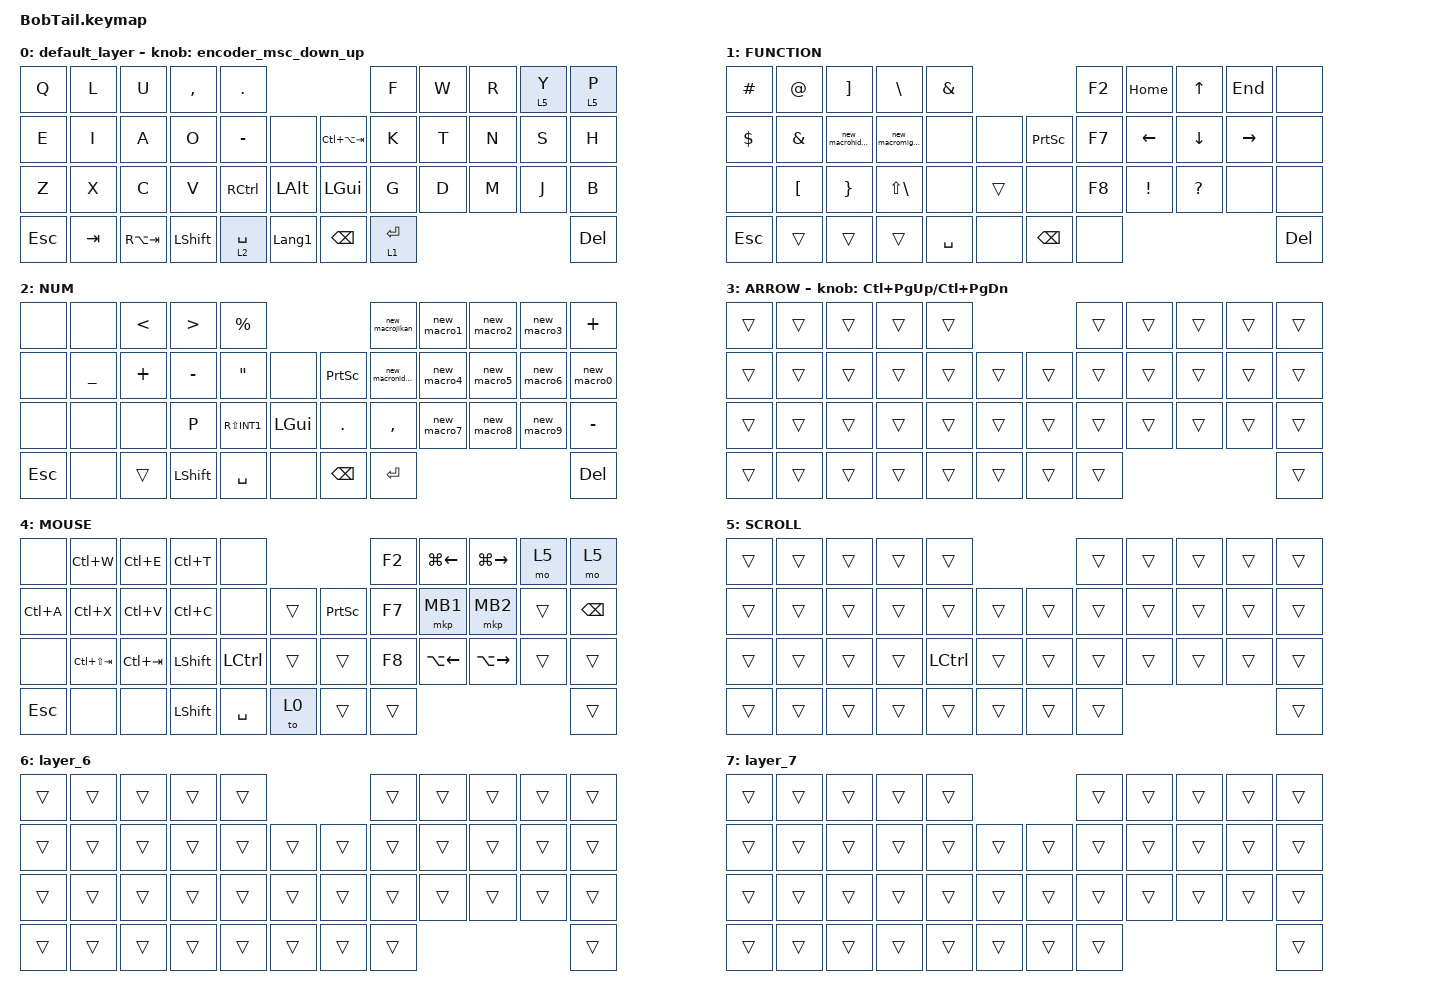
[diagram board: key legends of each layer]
#include <behaviors.dtsi>
#include <dt-bindings/zmk/keys.h>
#include <dt-bindings/zmk/pointing.h>

#define MOUSE 4
#define SCROLL 5
#define NUM 6
#define ZMK_POINTING_DEFAULT_SCRL_VAL 80

&mt {
    flavor = "balanced";
    quick-tap-ms = <0>;
};

/ {
    combos {
        compatible = "zmk,combos";

        shift_tab {
            bindings = <&kp LANG2>;
            key-positions = <12 13>;
            layers = <0 2 3 1>;
        };

        lang {
            bindings = <&kp LANG1>;
            key-positions = <18 19>;
            layers = <0 2 3 1>;
        };

        modoru {
            bindings = <&to 0>;
            key-positions = <18 19>;
            layers = <4>;
        };

        modoru2 {
            bindings = <&to 0>;
            key-positions = <12 13>;
            layers = <4>;
        };

        tab {
            bindings = <&kp TAB>;
            key-positions = <30 31>;
        };
    };

    behaviors {
        encoder_msc_down_up: encoder_msc_down_up {
            compatible = "zmk,behavior-sensor-rotate";
            label = "ENCODER_MSC_DOWN_UP";
            #sensor-binding-cells = <0>;
            bindings = <&msc SCRL_UP>, <&msc SCRL_DOWN>;

            tap-ms = <20>;
        };
    };

    macros {
        new_macro1: new_macro1 {
            compatible = "zmk,behavior-macro";
            #binding-cells = <0>;
            bindings = <&kp LANGUAGE_2 &kp NUMBER_1 &kp LANGUAGE_1>;
            label = "NEW_MACRO1";
        };

        new_macro2: new_macro2 {
            compatible = "zmk,behavior-macro";
            #binding-cells = <0>;
            bindings = <&kp LANGUAGE_2 &kp NUMBER_2 &kp LANGUAGE_1>;
            label = "NEW_MACRO2";
        };

        new_macro3: new_macro3 {
            compatible = "zmk,behavior-macro";
            #binding-cells = <0>;
            bindings = <&kp LANGUAGE_2 &kp NUMBER_3 &kp LANGUAGE_1>;
            label = "NEW_MACRO3";
        };

        new_macro4: new_macro4 {
            compatible = "zmk,behavior-macro";
            #binding-cells = <0>;
            bindings = <&kp LANGUAGE_2 &kp NUMBER_4 &kp LANG1>;
            label = "NEW_MACRO4";
        };

        new_macro5: new_macro5 {
            compatible = "zmk,behavior-macro";
            #binding-cells = <0>;
            bindings = <&kp LANGUAGE_2 &kp N5 &kp LANGUAGE_1>;
            label = "NEW_MACRO5";
        };

        new_macro6: new_macro6 {
            compatible = "zmk,behavior-macro";
            #binding-cells = <0>;
            bindings = <&kp LANGUAGE_2 &kp NUMBER_6 &kp LANGUAGE_1>;
            label = "NEW_MACRO6";
        };

        new_macro7: new_macro7 {
            compatible = "zmk,behavior-macro";
            #binding-cells = <0>;
            bindings = <&kp LANGUAGE_2 &kp N7 &kp LANGUAGE_1>;
            label = "NEW_MACRO7";
        };

        new_macro8: new_macro8 {
            compatible = "zmk,behavior-macro";
            #binding-cells = <0>;
            bindings = <&kp LANGUAGE_2 &kp N8 &kp LANGUAGE_1>;
            label = "NEW_MACRO8";
        };

        new_macro9: new_macro9 {
            compatible = "zmk,behavior-macro";
            #binding-cells = <0>;
            bindings = <&kp LANGUAGE_2 &kp N9>;
            label = "NEW_MACRO9";
        };

        new_macro0: new_macro0 {
            compatible = "zmk,behavior-macro";
            #binding-cells = <0>;
            bindings = <&kp LANGUAGE_2 &kp N0 &kp LANGUAGE_1>;
            label = "NEW_MACRO0";
        };

        new_macrojikan: new_macrojikan {
            compatible = "zmk,behavior-macro";
            #binding-cells = <0>;
            bindings = <&kp LANGUAGE_1 &kp SINGLE_QUOTE>;
            label = "NEW_MACROJIKAN";
        };

        new_macrohidarikakko: new_macrohidarikakko {
            compatible = "zmk,behavior-macro";
            #binding-cells = <0>;
            bindings = <&kp LANGUAGE_2 &kp LS(N8) &kp LANGUAGE_1>;
            label = "NEW_MACROHIDARIKAKKO";
        };

        new_macromigikakko: new_macromigikakko {
            compatible = "zmk,behavior-macro";
            #binding-cells = <0>;
            bindings = <&kp LANGUAGE_2 &kp LS(N9) &kp LANGUAGE_1>;
            label = "NEW_MACROMIGIKAKKO";
        };

        new_macroniduke: new_macroniduke {
            compatible = "zmk,behavior-macro";
            #binding-cells = <0>;
            bindings = <&kp LANGUAGE_2 &kp SLASH>;
            label = "NEW_MACRONIDUKE";
        };

        new_macrotab: new_macrotab {
            compatible = "zmk,behavior-macro";
            #binding-cells = <0>;
            bindings = <&kp LEFT_ALT &kp TAB>;
            label = "NEW_MACROTAB";
        };
    };

    keymap {
        compatible = "zmk,keymap";

        default_layer {
            bindings = <
&kp Q    &kp L    &kp U        &kp COMMA       &kp DOT                                                 &kp F        &kp W  &kp R  &lt 5 Y  &lt 5 P
&kp E    &kp I    &kp A        &kp O           &kp MINUS          &none               &kp LC(LA(TAB))  &kp K        &kp T  &kp N  &kp S    &kp H
&kp Z    &kp X    &kp C        &kp V           &kp RIGHT_CONTROL  &kp LALT            &kp LEFT_GUI     &kp G        &kp D  &kp M  &kp J    &kp B
&kp ESC  &kp TAB  &kp RA(TAB)  &kp LEFT_SHIFT  &lt 2 SPACE        &kp LANGUAGE_1      &kp BACKSPACE    &lt 1 ENTER                         &kp DELETE
            >;

            sensor-bindings = <&encoder_msc_down_up>;
        };

        FUNCTION {
            bindings = <
&kp HASH    &kp AT         &kp RBKT               &kp BACKSLASH        &kp AMPERSAND                               &kp F2  &kp HOME  &kp UP_ARROW  &kp END          &none
&kp DOLLAR  &kp AMPERSAND  &new_macrohidarikakko  &new_macromigikakko  &none          &none       &kp PRINTSCREEN  &kp F7  &kp LEFT  &kp DOWN      &kp RIGHT_ARROW  &none
&none       &kp LBKT       &kp RIGHT_BRACE        &kp LS(BACKSLASH)    &none          &trans      &none            &kp F8  &kp EXCL  &kp QUESTION  &none            &none
&kp ESCAPE  &trans         &trans                 &trans               &kp SPACE      &none       &kp BACKSPACE    &none                                            &kp DELETE
            >;
        };

        NUM {
            bindings = <
&none       &none      &kp LESS_THAN  &kp GREATER_THAN  &kp PERCENT                                           &new_macrojikan   &new_macro1  &new_macro2  &new_macro3  &kp PLUS
&none       &kp UNDER  &kp PLUS       &kp MINUS         &kp DOUBLE_QUOTES  &none             &kp PRINTSCREEN  &new_macroniduke  &new_macro4  &new_macro5  &new_macro6  &new_macro0
&none       &none      &none          &kp P             &kp RS(INT1)       &kp LEFT_GUI      &kp DOT          &kp COMMA         &new_macro7  &new_macro8  &new_macro9  &kp MINUS
&kp ESCAPE  &none      &trans         &kp LEFT_SHIFT    &kp SPACE          &none             &kp BACKSPACE    &kp ENTER                                                &kp DEL
            >;
        };

        ARROW {
            bindings = <
&trans  &trans  &trans  &trans  &trans                      &trans  &trans  &trans  &trans  &trans
&trans  &trans  &trans  &trans  &trans  &trans      &trans  &trans  &trans  &trans  &trans  &trans
&trans  &trans  &trans  &trans  &trans  &trans      &trans  &trans  &trans  &trans  &trans  &trans
&trans  &trans  &trans  &trans  &trans  &trans      &trans  &trans                          &trans
            >;

            sensor-bindings = <&inc_dec_kp LC(PAGE_UP) LC(PAGE_DOWN)>;
        };

        MOUSE {
            bindings = <
&none       &kp LC(W)        &kp LC(E)    &kp LC(T)       &none                                          &kp F2  &kp LG(LEFT_ARROW)  &kp LG(RIGHT_ARROW)  &mo 5   &mo 5
&kp LC(A)   &kp LC(X)        &kp LC(V)    &kp LC(C)       &none             &trans      &kp PRINTSCREEN  &kp F7  &mkp MB1            &mkp MB2             &trans  &kp BACKSPACE
&none       &kp LC(LS(TAB))  &kp LC(TAB)  &kp LEFT_SHIFT  &kp LEFT_CONTROL  &trans      &trans           &kp F8  &kp LA(LEFT_ARROW)  &kp LA(RIGHT_ARROW)  &trans  &trans
&kp ESCAPE  &none            &none        &kp LEFT_SHIFT  &kp SPACE         &to 0       &trans           &trans                                                   &trans
            >;
        };

        SCROLL {
            bindings = <
&trans  &trans  &trans  &trans  &trans                                &trans  &trans  &trans  &trans  &trans
&trans  &trans  &trans  &trans  &trans            &trans      &trans  &trans  &trans  &trans  &trans  &trans
&trans  &trans  &trans  &trans  &kp LEFT_CONTROL  &trans      &trans  &trans  &trans  &trans  &trans  &trans
&trans  &trans  &trans  &trans  &trans            &trans      &trans  &trans                          &trans
            >;
        };

        layer_6 {
            bindings = <
&trans  &trans  &trans  &trans  &trans                      &trans  &trans  &trans  &trans  &trans
&trans  &trans  &trans  &trans  &trans  &trans      &trans  &trans  &trans  &trans  &trans  &trans
&trans  &trans  &trans  &trans  &trans  &trans      &trans  &trans  &trans  &trans  &trans  &trans
&trans  &trans  &trans  &trans  &trans  &trans      &trans  &trans                          &trans
            >;
        };

        layer_7 {
            bindings = <
&trans  &trans  &trans  &trans  &trans                      &trans  &trans  &trans  &trans  &trans
&trans  &trans  &trans  &trans  &trans  &trans      &trans  &trans  &trans  &trans  &trans  &trans
&trans  &trans  &trans  &trans  &trans  &trans      &trans  &trans  &trans  &trans  &trans  &trans
&trans  &trans  &trans  &trans  &trans  &trans      &trans  &trans                          &trans
            >;
        };
    };
};
